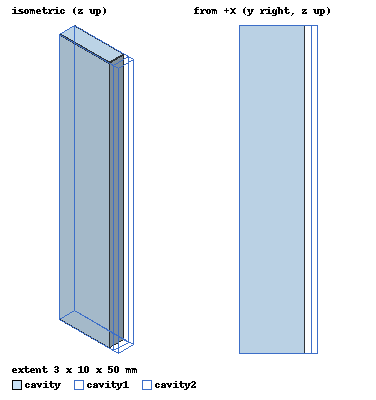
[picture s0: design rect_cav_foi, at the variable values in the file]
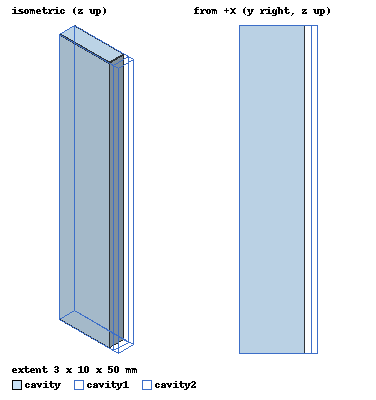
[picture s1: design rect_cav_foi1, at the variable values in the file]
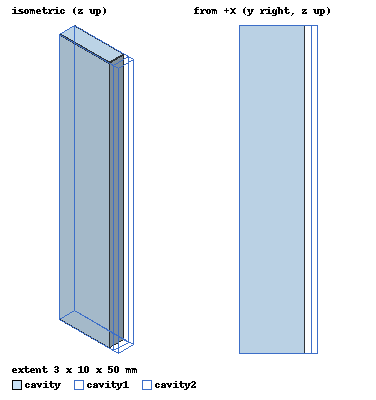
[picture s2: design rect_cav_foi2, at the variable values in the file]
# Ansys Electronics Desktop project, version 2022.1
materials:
  vacuum: permittivity=1

design rect_cav_foi (HFSS, Eigenmode, model units mm)
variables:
  xcav = 3mm
  ycav = 10mm
  zcav = 50mm
  ycav1 = 11mm
  ycav2 = 12mm
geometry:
  cavity [vacuum] = box(corner=(0mm, 0mm, 0mm), size=(xcav, ycav, zcav))
  cavity1 [vacuum] = box(corner=(0mm, 0mm, 0mm), size=(xcav, ycav1, zcav))
  cavity2 [vacuum] = box(corner=(0mm, 0mm, 0mm), size=(xcav, ycav2, zcav))
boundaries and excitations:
  PerfE1: Perfect E Faces=cavity2.face(+y)
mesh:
  cav1_mesh: LengthBased RefineInside Objects=cavity1 MaxLength=xcav
  cav2_mesh: LengthBased RefineInside Objects=cavity1 MaxLength=xcav
  cav3_mesh: LengthBased RefineInside Objects=cavity2 MaxLength=xcav
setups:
  Setup1: HfssEigen MinimumFrequency=7.5GHz NumModes=4 MaxDeltaFreq=0.01 ConvergeOnRealFreq=true MaximumPasses=30 MinimumPasses=1 MinimumConvergedPasses=1 PercentRefinement=30 BasisOrder=-1
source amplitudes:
  #-10:1, #-10:3, #-10:4: 0 0deg
  #-10:2: 1 0deg
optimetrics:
  ycav_sweep: Parametric Sim._Setups=[Setup1]
    sweep ycav: LIN 10mm 30mm 5mm
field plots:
  Vector_E1: E Field in cavity, cavity1, cavity2 on Setup1 : LastAdaptive at Phase=0deg
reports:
  Eigen Modes Plot 1: re(Mode(1)), re(Mode(2)), re(Mode(3)), re(Mode(4)) vs ycav on Setup1 : LastAdaptive [zcav=all]

design rect_cav_foi1 (HFSS, Eigenmode, model units mm)
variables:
  xcav = 3mm
  ycav = 10mm
  zcav = 50mm
  ycav1 = 11mm
  ycav2 = 12mm
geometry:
  cavity [vacuum] = box(corner=(0mm, 0mm, 0mm), size=(xcav, ycav, zcav))
  cavity1 [vacuum] = box(corner=(0mm, 0mm, 0mm), size=(xcav, ycav1, zcav))
  cavity2 [vacuum] = box(corner=(0mm, 0mm, 0mm), size=(xcav, ycav2, zcav))
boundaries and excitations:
  PerfE1: Perfect E Faces=cavity1.face(+y)
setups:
  Setup1: HfssEigen MinimumFrequency=7.5GHz NumModes=4 MaxDeltaFreq=0.01 ConvergeOnRealFreq=true MaximumPasses=1 MinimumPasses=1 MinimumConvergedPasses=1 PercentRefinement=30 MeshLink{ImportMesh LinkID=200 Project="This Project*" Product=HFSS Design=rect_cav_foi Params{xcav=xcav ycav=ycav ycav1=ycav1 ycav2=ycav2 zcav=zcav} PreservePartnerSoln PathRelativeTo=TargetProject ApplyMeshOp} BasisOrder=-1 DoLambdaRefine=false
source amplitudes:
  #-10:1, #-10:3, #-10:4: 0 0deg
  #-10:2: 1 0deg
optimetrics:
  ycav_sweep: Parametric Sim._Setups=[Setup1]
    sweep ycav: LIN 10mm 30mm 5mm
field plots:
  Vector_E1: E Field in cavity, cavity1, cavity2 on Setup1 : LastAdaptive at Phase=0deg
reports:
  Eigen Modes Plot 1: re(Mode(1)), re(Mode(2)), re(Mode(3)), re(Mode(4)) vs ycav on Setup1 : LastAdaptive [zcav=all]

design rect_cav_foi2 (HFSS, Eigenmode, model units mm)
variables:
  xcav = 3mm
  ycav = 10mm
  zcav = 50mm
  ycav1 = 11mm
  ycav2 = 12mm
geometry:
  cavity [vacuum] = box(corner=(0mm, 0mm, 0mm), size=(xcav, ycav, zcav))
  cavity1 [vacuum] = box(corner=(0mm, 0mm, 0mm), size=(xcav, ycav1, zcav))
  cavity2 [vacuum] = box(corner=(0mm, 0mm, 0mm), size=(xcav, ycav2, zcav))
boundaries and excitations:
  PerfE1: Perfect E Faces=cavity.face(+y)
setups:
  Setup1: HfssEigen MinimumFrequency=7.5GHz NumModes=4 MaxDeltaFreq=0.01 ConvergeOnRealFreq=true MaximumPasses=1 MinimumPasses=1 MinimumConvergedPasses=1 PercentRefinement=30 MeshLink{ImportMesh LinkID=200 Project="This Project*" Product=HFSS Design=rect_cav_foi Params{xcav=xcav ycav=ycav ycav1=ycav1 ycav2=ycav2 zcav=zcav} PreservePartnerSoln PathRelativeTo=TargetProject ApplyMeshOp} BasisOrder=-1 DoLambdaRefine=false
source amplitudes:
  #-10:1: 1 0deg
  #-10:2, #-10:3, #-10:4: 0 0deg
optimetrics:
  ycav_sweep: Parametric Sim._Setups=[Setup1]
    sweep ycav: LIN 10mm 30mm 5mm
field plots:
  Vector_E1: E Field in cavity, cavity1, cavity2 on Setup1 : LastAdaptive at Phase=0deg
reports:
  Eigen Modes Plot 1: re(Mode(1)), re(Mode(2)), re(Mode(3)), re(Mode(4)) vs ycav on Setup1 : LastAdaptive [zcav=all]
